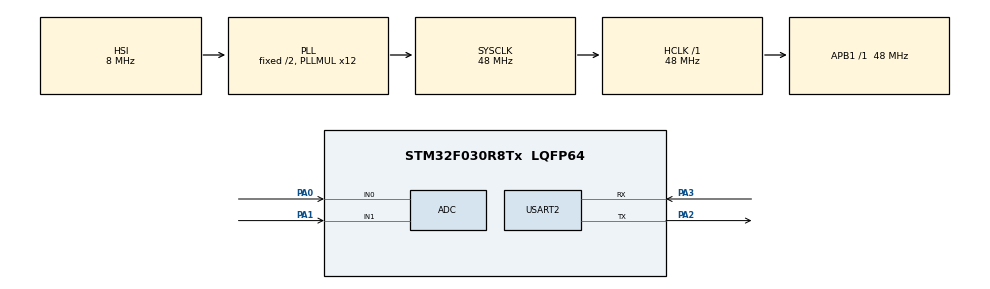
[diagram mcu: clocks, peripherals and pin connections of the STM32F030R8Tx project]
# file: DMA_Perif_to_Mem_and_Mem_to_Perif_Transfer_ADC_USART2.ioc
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ADC.ContinuousConvMode=ENABLE
ADC.DMAContinuousRequests=ENABLE
ADC.SamplingTime=ADC_SAMPLETIME_239CYCLES_5
Dma.ADC.1.Direction=DMA_PERIPH_TO_MEMORY
Dma.ADC.1.Instance=DMA1_Channel1
Dma.ADC.1.MemDataAlignment=DMA_MDATAALIGN_WORD
Dma.ADC.1.MemInc=DMA_MINC_ENABLE
Dma.ADC.1.Mode=DMA_CIRCULAR
Dma.ADC.1.PeriphDataAlignment=DMA_PDATAALIGN_WORD
Dma.ADC.1.PeriphInc=DMA_PINC_DISABLE
Dma.ADC.1.Priority=DMA_PRIORITY_MEDIUM
Dma.Request0=USART2_TX
Dma.Request1=ADC
Dma.USART2_TX.0.Direction=DMA_MEMORY_TO_PERIPH
Dma.USART2_TX.0.Instance=DMA1_Channel4
Dma.USART2_TX.0.MemDataAlignment=DMA_MDATAALIGN_BYTE
Dma.USART2_TX.0.MemInc=DMA_MINC_ENABLE
Dma.USART2_TX.0.Mode=DMA_NORMAL
Dma.USART2_TX.0.PeriphDataAlignment=DMA_PDATAALIGN_BYTE
Dma.USART2_TX.0.PeriphInc=DMA_PINC_DISABLE
Dma.USART2_TX.0.Priority=DMA_PRIORITY_LOW
Mcu.Family=STM32F0
Mcu.Name=STM32F030R8Tx
Mcu.Package=LQFP64
NVIC.DMA1_Channel1_IRQn=true\:0\:0\:false\:false\:true\:false\:true\:true
NVIC.DMA1_Channel4_5_IRQn=true\:0\:0\:false\:false\:true\:false\:true\:true
NVIC.USART2_IRQn=true\:0\:0\:false\:false\:true\:true\:true\:true
PA0.Mode=IN0
PA0.Signal=ADC_IN0
PA1.Mode=IN1
PA1.Signal=ADC_IN1
PA13.Mode=Serial_Wire
PA13.Signal=SYS_SWDIO
PA14.Mode=Serial_Wire
PA14.Signal=SYS_SWCLK
PA2.Mode=Asynchronous
PA2.Signal=USART2_TX
PA3.Mode=Asynchronous
PA3.Signal=USART2_RX
ProjectManager.HeapSize=0x200
ProjectManager.StackSize=0x400
ProjectManager.TargetToolchain=STM32CubeIDE
RCC.AHBFreq_Value=48000000
RCC.APB1Freq_Value=48000000
RCC.APB1TimFreq_Value=48000000
RCC.HCLKFreq_Value=48000000
RCC.PLLMUL=RCC_PLL_MUL12
RCC.SYSCLKFreq_VALUE=48000000
RCC.SYSCLKSource=RCC_SYSCLKSOURCE_PLLCLK
USART2.VirtualMode-Asynchronous=VM_ASYNC
VP_ADC_Vref_Input.Mode=IN-Vrefint
board=NUCLEO-F030R8

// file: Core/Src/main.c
/* USER CODE BEGIN Header */
/**
  ******************************************************************************
  * @file           : main.c
  * @brief          : Main program body
  ******************************************************************************
  * @attention
  *
  * Copyright (c) 2026 STMicroelectronics.
  * All rights reserved.
  *
  * This software is licensed under terms that can be found in the LICENSE file
  * in the root directory of this software component.
  * If no LICENSE file comes with this software, it is provided AS-IS.
  *
  ******************************************************************************
  */
/* USER CODE END Header */
#include "main.h"

/* USER CODE BEGIN Includes */
#include <stdio.h> // sprintf fonksiyonu için eklendi
#include <string.h>
/* USER CODE END Includes */

ADC_HandleTypeDef hadc;
DMA_HandleTypeDef hdma_adc;

UART_HandleTypeDef huart2;
DMA_HandleTypeDef hdma_usart2_tx;

/* USER CODE BEGIN PV */
uint8_t buffer[]="EMBEDDED\r\n";//gonderilecek veri icin dizi olusturuldu ve icine gonderilecek veri yuklendi
uint32_t adc_buffer[3];//alinacak veri icin dizi olusturuldu
char tx_buffer[64];//sprintf ile olusturulan metni uart dma ile gondermek icin dizi olusturuldu
/* USER CODE END PV */

void SystemClock_Config(void);
static void MX_GPIO_Init(void);
static void MX_DMA_Init(void);
static void MX_USART2_UART_Init(void);
static void MX_ADC_Init(void);

int main(void)
{

  /* MCU Configuration--------------------------------------------------------*/

  /* Reset of all peripherals, Initializes the Flash interface and the Systick. */
  HAL_Init();

  /* Configure the system clock */
  SystemClock_Config();

  /* Initialize all configured peripherals */
  MX_GPIO_Init();
  MX_DMA_Init();
  MX_USART2_UART_Init();
  MX_ADC_Init();
  /* USER CODE BEGIN 2 */
  HAL_UART_Transmit_DMA(&huart2, buffer, sizeof(buffer) - 1);//dma modunda uart transmit yapacak, -1 ile dizi sonundaki null karakter gonderilmez
  HAL_ADCEx_Calibration_Start(&hadc);//adc nin kalibrasyonu icin mutlaka yazilmalidir
  HAL_ADC_Start_DMA(&hadc, adc_buffer, sizeof(adc_buffer) / sizeof(adc_buffer[0]));//dma modunda adc veri alacak, uzunluk byte degil eleman (donusum) sayisidir yani 3
  /* USER CODE END 2 */

  /* Infinite loop */
  while (1)
  {

  }
}

void SystemClock_Config(void)
{
  RCC_OscInitTypeDef RCC_OscInitStruct = {0};
  RCC_ClkInitTypeDef RCC_ClkInitStruct = {0};

  /** Initializes the RCC Oscillators according to the specified parameters
  * in the RCC_OscInitTypeDef structure.
  */
  RCC_OscInitStruct.OscillatorType = RCC_OSCILLATORTYPE_HSI|RCC_OSCILLATORTYPE_HSI14;
  RCC_OscInitStruct.HSIState = RCC_HSI_ON;
  RCC_OscInitStruct.HSI14State = RCC_HSI14_ON;
  RCC_OscInitStruct.HSICalibrationValue = RCC_HSICALIBRATION_DEFAULT;
  RCC_OscInitStruct.HSI14CalibrationValue = 16;
  RCC_OscInitStruct.PLL.PLLState = RCC_PLL_ON;
  RCC_OscInitStruct.PLL.PLLSource = RCC_PLLSOURCE_HSI;
  RCC_OscInitStruct.PLL.PLLMUL = RCC_PLL_MUL12;
  RCC_OscInitStruct.PLL.PREDIV = RCC_PREDIV_DIV1;
  if (HAL_RCC_OscConfig(&RCC_OscInitStruct) != HAL_OK)
  {
    Error_Handler();
  }

  /** Initializes the CPU, AHB and APB buses clocks
  */
  RCC_ClkInitStruct.ClockType = RCC_CLOCKTYPE_HCLK|RCC_CLOCKTYPE_SYSCLK
                              |RCC_CLOCKTYPE_PCLK1;
  RCC_ClkInitStruct.SYSCLKSource = RCC_SYSCLKSOURCE_PLLCLK;
  RCC_ClkInitStruct.AHBCLKDivider = RCC_SYSCLK_DIV1;
  RCC_ClkInitStruct.APB1CLKDivider = RCC_HCLK_DIV1;

  if (HAL_RCC_ClockConfig(&RCC_ClkInitStruct, FLASH_LATENCY_1) != HAL_OK)
  {
    Error_Handler();
  }
}

static void MX_ADC_Init(void)
{

  ADC_ChannelConfTypeDef sConfig = {0};

  /** Configure the global features of the ADC (Clock, Resolution, Data Alignment and number of conversion)
  */
  hadc.Instance = ADC1;
  hadc.Init.ClockPrescaler = ADC_CLOCK_ASYNC_DIV1;
  hadc.Init.Resolution = ADC_RESOLUTION_12B;
  hadc.Init.DataAlign = ADC_DATAALIGN_RIGHT;
  hadc.Init.ScanConvMode = ADC_SCAN_DIRECTION_FORWARD;
  hadc.Init.EOCSelection = ADC_EOC_SINGLE_CONV;
  hadc.Init.LowPowerAutoWait = DISABLE;
  hadc.Init.LowPowerAutoPowerOff = DISABLE;
  hadc.Init.ContinuousConvMode = ENABLE;
  hadc.Init.DiscontinuousConvMode = DISABLE;
  hadc.Init.ExternalTrigConv = ADC_SOFTWARE_START;
  hadc.Init.ExternalTrigConvEdge = ADC_EXTERNALTRIGCONVEDGE_NONE;
  hadc.Init.DMAContinuousRequests = ENABLE;
  hadc.Init.Overrun = ADC_OVR_DATA_PRESERVED;
  if (HAL_ADC_Init(&hadc) != HAL_OK)
  {
    Error_Handler();
  }

  /** Configure for the selected ADC regular channel to be converted.
  */
  sConfig.Channel = ADC_CHANNEL_0;
  sConfig.Rank = ADC_RANK_CHANNEL_NUMBER;
  sConfig.SamplingTime = ADC_SAMPLETIME_239CYCLES_5;
  if (HAL_ADC_ConfigChannel(&hadc, &sConfig) != HAL_OK)
  {
    Error_Handler();
  }

  /** Configure for the selected ADC regular channel to be converted.
  */
  sConfig.Channel = ADC_CHANNEL_1;
  if (HAL_ADC_ConfigChannel(&hadc, &sConfig) != HAL_OK)
  {
    Error_Handler();
  }

  /** Configure for the selected ADC regular channel to be converted.
  */
  sConfig.Channel = ADC_CHANNEL_VREFINT;
  if (HAL_ADC_ConfigChannel(&hadc, &sConfig) != HAL_OK)
  {
    Error_Handler();
  }

}

static void MX_USART2_UART_Init(void)
{

  huart2.Instance = USART2;
  huart2.Init.BaudRate = 38400;
  huart2.Init.WordLength = UART_WORDLENGTH_8B;
  huart2.Init.StopBits = UART_STOPBITS_1;
  huart2.Init.Parity = UART_PARITY_NONE;
  huart2.Init.Mode = UART_MODE_TX_RX;
  huart2.Init.HwFlowCtl = UART_HWCONTROL_NONE;
  huart2.Init.OverSampling = UART_OVERSAMPLING_16;
  huart2.Init.OneBitSampling = UART_ONE_BIT_SAMPLE_DISABLE;
  huart2.AdvancedInit.AdvFeatureInit = UART_ADVFEATURE_NO_INIT;
  if (HAL_UART_Init(&huart2) != HAL_OK)
  {
    Error_Handler();
  }

}

static void MX_DMA_Init(void)
{

  /* DMA controller clock enable */
  __HAL_RCC_DMA1_CLK_ENABLE();

  /* DMA interrupt init */
  /* DMA1_Channel1_IRQn interrupt configuration */
  HAL_NVIC_SetPriority(DMA1_Channel1_IRQn, 0, 0);
  HAL_NVIC_EnableIRQ(DMA1_Channel1_IRQn);
  /* DMA1_Channel4_5_IRQn interrupt configuration */
  HAL_NVIC_SetPriority(DMA1_Channel4_5_IRQn, 0, 0);
  HAL_NVIC_EnableIRQ(DMA1_Channel4_5_IRQn);

}

static void MX_GPIO_Init(void)
{

  /* GPIO Ports Clock Enable */
  __HAL_RCC_GPIOA_CLK_ENABLE();

}

/* USER CODE BEGIN 4 */
void HAL_ADC_ConvCpltCallback(ADC_HandleTypeDef *hadc) {//adc 3 kanalin donusumunu dma ile adc_buffer a yazdiginda otomatik cagrilir
	static uint32_t Last_Send_Tick = 0;//son gonderimin zamanini tutar, static olmasinin nedeni degerin fonksiyon cikisinda kaybolmamasi
	if (hadc->Instance == ADC1) {//hangi ADC den geldigini kontrol etmek icin yazildi
		if ((HAL_GetTick() - Last_Send_Tick >= 50) && (huart2.gState == HAL_UART_STATE_READY)) {//500 ms gectiyse ve onceki dma gonderimi bittiyse (tx_buffer in uzerine yazilmasin diye) gonderilir
			Last_Send_Tick = HAL_GetTick();
			uint32_t CH0 = adc_buffer[0];//adc dma surekli yazdigi icin sprintf sirasinda degerler degismesin diye once kopyalanir
			uint32_t CH1 = adc_buffer[1];
			uint32_t VREFINT = adc_buffer[2];
			sprintf(tx_buffer, "CH0: %lu, CH1: %lu, VREFINT: %lu\r\n", CH0, CH1, VREFINT);//3 deger metne cevrildi
			HAL_UART_Transmit_DMA(&huart2, (uint8_t*) tx_buffer, strlen(tx_buffer));//metin dma modunda usart2 uzerinden gonderildi
		}
	}
}
/* USER CODE END 4 */

void Error_Handler(void)
{
  __disable_irq();
  while (1)
  {
  }
}
